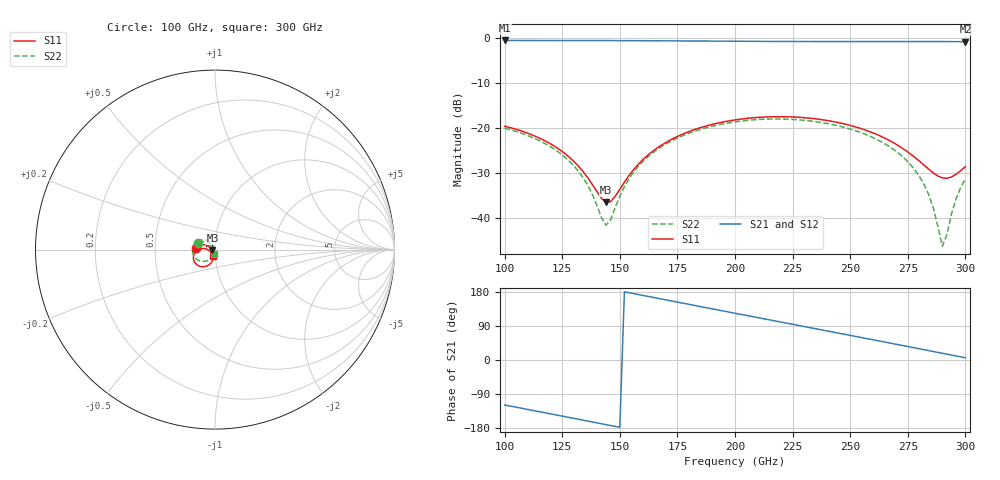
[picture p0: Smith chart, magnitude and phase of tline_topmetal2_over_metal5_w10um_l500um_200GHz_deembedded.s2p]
! Created with skrf 2.0.1 (http://scikit-rf.org).
# GHz S DB R 50.0
!freq dBS11 angS11 dBS21 angS21 dBS12 angS12 dBS22 angS22
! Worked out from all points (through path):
!   101 points, 100 GHz to 300 GHz, reference 50 ohm
!   highest |S21| = -0.56 dB at 100 GHz (marker M1); lowest = -0.8 dB at 300 GHz (marker M2)
!   group delay of S21, straight-line fit = 3.27 ps
!   lowest |S11| = -36.6 dB at 144 GHz (marker M3), VSWR 1.03, Z = 48.6 - j0.467 ohm
!   |S11| at or under -10 dB: start of sweep to end of sweep
!   |S22| runs from -46.3 to -18.0 dB; largest |S21 - S12| = 1.1e-14
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100  -19.62 173.6  -0.56 -118.7  -0.56 -118.7  -20.08 158.9
120  -23.57 156.1  -0.57 -142.2  -0.57 -142.2  -24.22 136.6
128  -26.48 152.4  -0.58 -151.6  -0.58 -151.6  -27.36 130.0
134  -29.67 154.3  -0.58 -158.7  -0.58 -158.7  -31.02 128.4
144  -36.56 -161.1  -0.59 -170.5  -0.59 -170.5  -41.65 -175.1
146  -36.40 -142.0  -0.59 -172.9  -0.59 -172.9  -40.42 -143.7
148  -35.24 -126.0  -0.60 -175.3  -0.60 -175.3  -37.70 -125.5
156  -29.27 -101.8  -0.61 175.2  -0.61 175.2  -29.84 -111.0
168  -23.86 -102.7  -0.64 161.0  -0.64 161.0  -24.22 -118.7
182  -20.45 -113.2  -0.68 144.5  -0.68 144.5  -20.83 -133.4
200  -18.23 -129.6  -0.73 123.4  -0.73 123.4  -18.66 -154.0
218  -17.51 -146.7  -0.78 102.4  -0.78 102.4  -18.02 -175.2
234  -17.93 -161.5  -0.80 83.7  -0.80 83.7  -18.54 166.0
252  -19.74 -176.5  -0.80 62.6  -0.80 62.6  -20.57 145.0
268  -23.07 174.8  -0.80 43.8  -0.80 43.8  -24.50 127.2
276  -25.73 175.6  -0.80 34.4  -0.80 34.4  -28.07 119.8
282  -28.26 -177.4  -0.81 27.3  -0.81 27.3  -32.53 117.1
286  -29.99 -166.6  -0.81 22.5  -0.81 22.5  -37.68 121.8
290  -31.12 -149.6  -0.81 17.8  -0.81 17.8  -46.30 173.2
292  -31.21 -139.5  -0.81 15.4  -0.81 15.4  -43.67 -132.9
296  -30.30 -121.2  -0.82 10.6  -0.82 10.6  -35.70 -108.4
300  -28.61 -109.0  -0.83 5.9  -0.83 5.9  -31.31 -106.6
